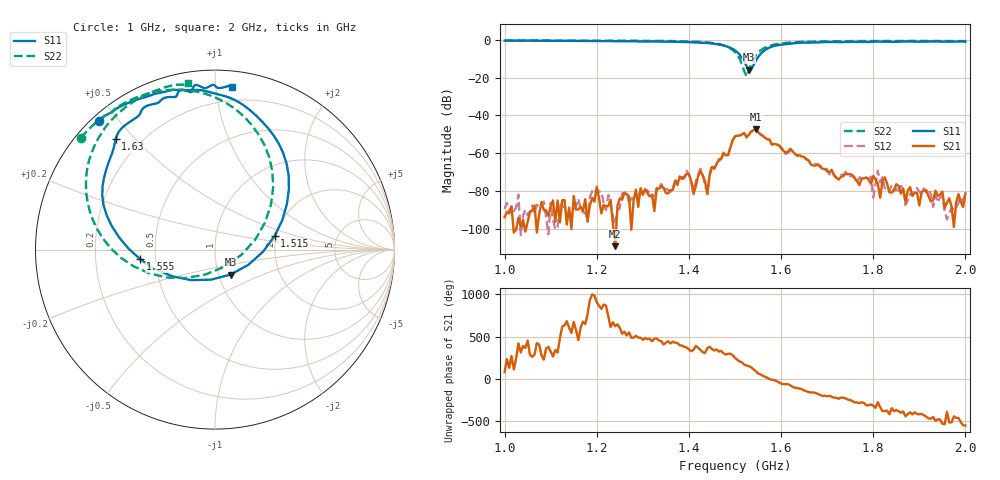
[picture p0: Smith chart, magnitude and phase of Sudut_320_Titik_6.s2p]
# Hz S RI R 50
! CMT, C1220, 16058040, 17.2.0/1
! Date: 14/08/2018 12:25:19
! Data: Format (Calibration Info)
! Freq  S11: Re/Im (F2)  S21: Re/Im (F2)  S12: Re/Im (F2)  S22: Re/Im (F2)
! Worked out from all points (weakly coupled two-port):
!   201 points, 1 GHz to 2 GHz, reference 50 ohm
!   highest |S21| = -47.41 dB at 1.545 GHz (marker M1); lowest = -109.4 dB at 1.24 GHz (marker M2)
!   lowest |S11| = -15.7 dB at 1.53 GHz (marker M3), VSWR 1.39, Z = 57 - j16.3 ohm
!   |S11| at or under -10 dB: 1.517 GHz to 1.548 GHz (31.16 MHz wide, 2.03 % of centre)
!   |S22| runs from -19.3 to -0.2 dB; largest |S21 - S12| = 0.00023
!   S11 on the Smith chart (normalised r, x): 1 GHz: 0.02, +0.44; 1.515 GHz: 1.96, +0.33; 1.555 GHz: 0.41, -0.05; 1.63 GHz: 0.11, +0.44; 2 GHz: 0.10, +1.11
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1e9  -0.6468 0.715  2.54e-06 1.99e-05  -2.03e-05 2.61e-05  -0.748 0.624
1.17e9  -0.472 0.8224  2.11e-05 -1.94e-05  -2.5e-06 -2.65e-05  -0.6115 0.7486
1.24e9  -0.3669 0.8563  -4.17e-07 -3.37e-06  1.04e-05 -7.31e-06  -0.5441 0.7933
1.335e9  -0.2093 0.8893  -8.02e-06 0.000113  1.1e-05 0.000115  -0.3965 0.862
1.395e9  -0.0465 0.8817  0.000275 6.68e-05  0.000338 4.88e-05  -0.2399 0.8907
1.41e9  0.00918 0.8671  7.99e-05 -2.02e-05  0.000103 4.22e-06  -0.1833 0.8905
1.425e9  0.076 0.8482  0.000324 -8.77e-05  0.00037 -0.000112  -0.1154 0.8824
1.44e9  0.1358 0.8194  8.16e-05 7.02e-06  8.18e-05 2.52e-05  -0.0364 0.8623
1.45e9  0.1797 0.7889  0.000423 -4.05e-05  0.000484 -7.89e-05  0.0254 0.8364
1.5e9  0.4116 0.3369  -0.000971 -0.00265  -0.000899 -0.00248  0.3243 0.349
1.515e9  0.3319 0.0751  -0.00298 -0.000909  -0.00299 -0.00101  0.2245 0.0558
1.53e9  0.0869 -0.1388  -0.0027 0.00142  -0.00274 0.00145  -0.0539 -0.139
1.545e9  -0.2365 -0.1492  -0.000251 0.00425  -0.000299 0.00419  -0.3704 -0.1306
1.555e9  -0.4163 -0.0542  0.0018 0.00257  0.00167 0.00269  -0.5234 -0.0461
1.63e9  -0.5536 0.6158  -0.000192 -0.000938  -0.000134 -0.000959  -0.686 0.5426
1.67e9  -0.4357 0.7374  -0.000436 -0.000179  -0.000444 -0.000192  -0.6183 0.6702
1.795e9  -0.2084 0.8687  7.85e-05 0.000132  0.000144 0.00019  -0.4253 0.8411
1.8e9  -0.2049 0.8774  0.000171 0.000181  6.57e-05 1.17e-05  -0.4185 0.8452
1.81e9  -0.1912 0.8889  1.1e-05 0.000151  -0.000166 0.000301  -0.4046 0.8529
1.825e9  -0.1591 0.8854  0.000217 -6.68e-05  6.03e-05 -9.72e-05  -0.3843 0.8629
1.835e9  -0.1392 0.8779  5.14e-05 -7.52e-05  9.88e-05 1.85e-05  -0.3711 0.8696
2e9  0.0967 0.9081  -8.45e-05 1.15e-05  -8.1e-05 -1.68e-05  -0.1491 0.9276
